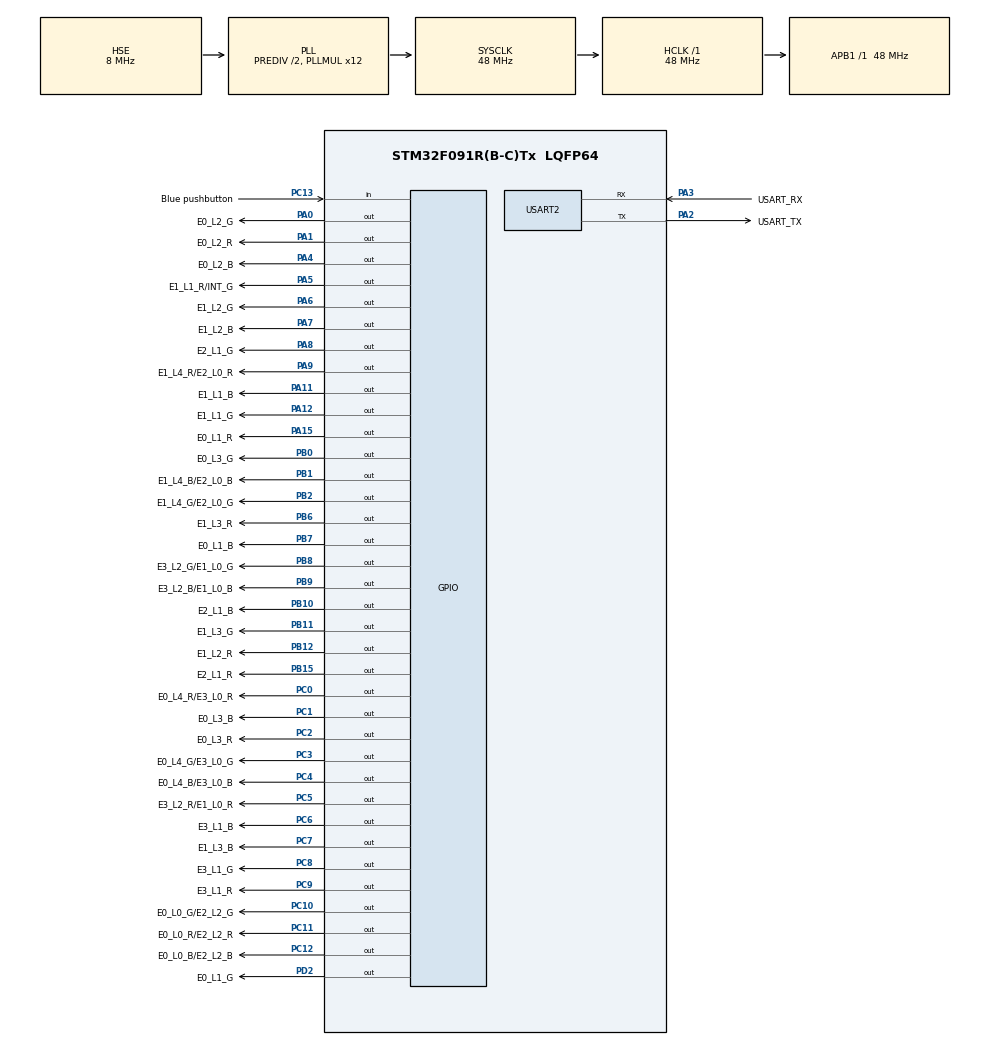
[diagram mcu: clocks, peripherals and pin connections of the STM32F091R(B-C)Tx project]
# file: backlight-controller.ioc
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Dma.Request0=USART2_RX
Dma.Request1=USART2_TX
Dma.USART2_RX.0.DMA1_Remap_Macro_Arg=HAL_DMA1_CH1_USART2_RX
Dma.USART2_RX.0.Direction=DMA_PERIPH_TO_MEMORY
Dma.USART2_RX.0.Instance=DMA1_Channel1
Dma.USART2_RX.0.MemDataAlignment=DMA_MDATAALIGN_BYTE
Dma.USART2_RX.0.MemInc=DMA_MINC_ENABLE
Dma.USART2_RX.0.Mode=DMA_CIRCULAR
Dma.USART2_RX.0.PeriphDataAlignment=DMA_PDATAALIGN_BYTE
Dma.USART2_RX.0.PeriphInc=DMA_PINC_DISABLE
Dma.USART2_RX.0.Priority=DMA_PRIORITY_LOW
Dma.USART2_RX.0.Request=DMA_REQUEST_9
Dma.USART2_TX.1.DMA1_Remap_Macro_Arg=HAL_DMA1_CH2_USART2_TX
Dma.USART2_TX.1.Direction=DMA_MEMORY_TO_PERIPH
Dma.USART2_TX.1.Instance=DMA1_Channel2
Dma.USART2_TX.1.MemDataAlignment=DMA_MDATAALIGN_BYTE
Dma.USART2_TX.1.MemInc=DMA_MINC_ENABLE
Dma.USART2_TX.1.Mode=DMA_NORMAL
Dma.USART2_TX.1.PeriphDataAlignment=DMA_PDATAALIGN_BYTE
Dma.USART2_TX.1.PeriphInc=DMA_PINC_DISABLE
Dma.USART2_TX.1.Priority=DMA_PRIORITY_LOW
Dma.USART2_TX.1.Request=DMA_REQUEST_9
Mcu.Family=STM32F0
Mcu.Name=STM32F091R(B-C)Tx
Mcu.Package=LQFP64
NVIC.DMA1_Ch1_IRQn=true\:3\:0\:true
NVIC.DMA1_Ch2_3_DMA2_Ch1_2_IRQn=true\:3\:0\:true
NVIC.FLASH_IRQn=true\:3\:0\:true
NVIC.PVD_VDDIO2_IRQn=true\:3\:0\:true
NVIC.USART2_IRQn=true\:3\:0\:true
PA0.GPIO_Label=E0_L2_G
PA0.Signal=GPIO_Output
PA1.GPIO_Label=E0_L2_R
PA1.Signal=GPIO_Output
PA11.GPIO_Label=E1_L1_B
PA11.Signal=GPIO_Output
PA12.GPIO_Label=E1_L1_G
PA12.Signal=GPIO_Output
PA13.Mode=Serial-WireDebug
PA13.Signal=SYS_SWDIO
PA14.GPIO_Label=TCK
PA14.Mode=Serial-WireDebug
PA14.Signal=SYS_SWCLK
PA15.GPIO_Label=E0_L1_R
PA15.Signal=GPIO_Output
PA2.GPIO_Label=USART_TX
PA2.GPIO_Mode=GPIO_MODE_AF_PP
PA2.GPIO_PuPd=GPIO_NOPULL
PA2.GPIO_Speed=GPIO_SPEED_LOW
PA2.Mode=Asynchronous
PA2.Signal=USART2_TX
PA3.GPIO_Label=USART_RX
PA3.GPIO_Mode=GPIO_MODE_AF_PP
PA3.GPIO_PuPd=GPIO_NOPULL
PA3.GPIO_Speed=GPIO_SPEED_LOW
PA3.Mode=Asynchronous
PA3.Signal=USART2_RX
PA4.GPIO_Label=E0_L2_B
PA4.Signal=GPIO_Output
PA5.GPIO_Label=E1_L1_R/INT_G
PA5.GPIO_Mode=GPIO_MODE_OUTPUT_PP
PA5.GPIO_PuPd=GPIO_NOPULL
PA5.GPIO_Speed=GPIO_SPEED_LOW
PA5.Signal=GPIO_Output
PA6.GPIO_Label=E1_L2_G
PA6.Signal=GPIO_Output
PA7.GPIO_Label=E1_L2_B
PA7.Signal=GPIO_Output
PA8.GPIO_Label=E2_L1_G
PA8.Signal=GPIO_Output
PA9.GPIO_Label=E1_L4_R/E2_L0_R
PA9.Signal=GPIO_Output
PB0.GPIO_Label=E0_L3_G
PB0.Signal=GPIO_Output
PB1.GPIO_Label=E1_L4_B/E2_L0_B
PB1.Signal=GPIO_Output
PB10.GPIO_Label=E2_L1_B
PB10.Signal=GPIO_Output
PB11.GPIO_Label=E1_L3_G
PB11.Signal=GPIO_Output
PB12.GPIO_Label=E1_L2_R
PB12.Signal=GPIO_Output
PB15.GPIO_Label=E2_L1_R
PB15.Signal=GPIO_Output
PB2.GPIO_Label=E1_L4_G/E2_L0_G
PB2.Signal=GPIO_Output
PB6.GPIO_Label=E1_L3_R
PB6.Signal=GPIO_Output
PB7.GPIO_Label=E0_L1_B
PB7.Signal=GPIO_Output
PB8.GPIO_Label=E3_L2_G/E1_L0_G
PB8.Signal=GPIO_Output
PB9.GPIO_Label=E3_L2_B/E1_L0_B
PB9.Signal=GPIO_Output
PC0.GPIO_Label=E0_L4_R/E3_L0_R
PC0.Signal=GPIO_Output
PC1.GPIO_Label=E0_L3_B
PC1.Signal=GPIO_Output
PC10.GPIO_Label=E0_L0_G/E2_L2_G
PC10.Signal=GPIO_Output
PC11.GPIO_Label=E0_L0_R/E2_L2_R
PC11.Signal=GPIO_Output
PC12.GPIO_Label=E0_L0_B/E2_L2_B
PC12.Signal=GPIO_Output
PC13.GPIO_Label=Blue pushbutton
PC13.Signal=GPIO_Input
PC14OSC32_IN.Signal=RCC_OSC32_IN
PC15OSC32_OUT.Signal=RCC_OSC32_OUT
PC2.GPIO_Label=E0_L3_R
PC2.Signal=GPIO_Output
PC3.GPIO_Label=E0_L4_G/E3_L0_G
PC3.Signal=GPIO_Output
PC4.GPIO_Label=E0_L4_B/E3_L0_B
PC4.Signal=GPIO_Output
PC5.GPIO_Label=E3_L2_R/E1_L0_R
PC5.Signal=GPIO_Output
PC6.GPIO_Label=E3_L1_B
PC6.Signal=GPIO_Output
PC7.GPIO_Label=E1_L3_B
PC7.Signal=GPIO_Output
PC8.GPIO_Label=E3_L1_G
PC8.Signal=GPIO_Output
PC9.GPIO_Label=E3_L1_R
PC9.Signal=GPIO_Output
PD2.GPIO_Label=E0_L1_G
PD2.Signal=GPIO_Output
PF0-OSC_IN.Mode=HSE-External-Oscillator
PF0-OSC_IN.Signal=RCC_OSC_IN
PF1-OSC_OUT.Mode=HSE-External-Oscillator
PF1-OSC_OUT.Signal=RCC_OSC_OUT
ProjectManager.HeapSize=0x400
ProjectManager.StackSize=0x200
ProjectManager.TargetToolchain=SW4STM32
RCC.AHBFreq_Value=48000000
RCC.APB1Freq_Value=48000000
RCC.APB1TimFreq_Value=48000000
RCC.FLatency-AdvancedSettings=FLASH_LATENCY_1
RCC.HCLKFreq_Value=48000000
RCC.PLLDivider=RCC_PREDIV_DIV2
RCC.PLLMUL=RCC_PLL_MUL12
RCC.PLLSource=RCC_PLLSOURCE_HSE
RCC.PREFETCH_ENABLE-AdvancedSettings=1
RCC.SYSCLKFreq_VALUE=48000000
RCC.SYSCLKSource=RCC_SYSCLKSOURCE_PLLCLK
USART2.AutoBaudRateEnableParam=UART_ADVFEATURE_AUTOBAUDRATE_DISABLE
USART2.OverrunDisableParam=UART_ADVFEATURE_OVERRUN_DISABLE
USART2.WordLength=UART_WORDLENGTH_8B
board=NUCLEO-F091RC

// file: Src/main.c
/**
  ******************************************************************************
  * File Name          : main.c
  * Description        : Main program body
  ******************************************************************************
  *
  * COPYRIGHT(c) 2016 STMicroelectronics
  *
  * Redistribution and use in source and binary forms, with or without modification,
  * are permitted provided that the following conditions are met:
  *   1. Redistributions of source code must retain the above copyright notice,
  *      this list of conditions and the following disclaimer.
  *   2. Redistributions in binary form must reproduce the above copyright notice,
  *      this list of conditions and the following disclaimer in the documentation
  *      and/or other materials provided with the distribution.
  *   3. Neither the name of STMicroelectronics nor the names of its contributors
  *      may be used to endorse or promote products derived from this software
  *      without specific prior written permission.
  *
  * THIS SOFTWARE IS PROVIDED BY THE COPYRIGHT HOLDERS AND CONTRIBUTORS "AS IS"
  * AND ANY EXPRESS OR IMPLIED WARRANTIES, INCLUDING, BUT NOT LIMITED TO, THE
  * IMPLIED WARRANTIES OF MERCHANTABILITY AND FITNESS FOR A PARTICULAR PURPOSE ARE
  * DISCLAIMED. IN NO EVENT SHALL THE COPYRIGHT HOLDER OR CONTRIBUTORS BE LIABLE
  * FOR ANY DIRECT, INDIRECT, INCIDENTAL, SPECIAL, EXEMPLARY, OR CONSEQUENTIAL
  * DAMAGES (INCLUDING, BUT NOT LIMITED TO, PROCUREMENT OF SUBSTITUTE GOODS OR
  * SERVICES; LOSS OF USE, DATA, OR PROFITS; OR BUSINESS INTERRUPTION) HOWEVER
  * CAUSED AND ON ANY THEORY OF LIABILITY, WHETHER IN CONTRACT, STRICT LIABILITY,
  * OR TORT (INCLUDING NEGLIGENCE OR OTHERWISE) ARISING IN ANY WAY OUT OF THE USE
  * OF THIS SOFTWARE, EVEN IF ADVISED OF THE POSSIBILITY OF SUCH DAMAGE.
  *
  ******************************************************************************
  */
#include "stm32f0xx_hal.h"

/* USER CODE BEGIN Includes */

#include <string.h>

/* USER CODE END Includes */

UART_HandleTypeDef huart2;
DMA_HandleTypeDef hdma_usart2_rx;
DMA_HandleTypeDef hdma_usart2_tx;

/* USER CODE BEGIN PV */
/* Private variables ---------------------------------------------------------*/

#define LEDS 12
#define TILES_X_COUNT 5
#define TILES_Y_COUNT 3

#define UART_BUF_SIZE 4096

GPIO_TypeDef *ledGPIO[] = {
				E0_L0_R_E2_L2_R_GPIO_Port,	E0_L0_G_E2_L2_G_GPIO_Port,	E0_L0_B_E2_L2_B_GPIO_Port,
				E0_L1_R_GPIO_Port,		E0_L1_G_GPIO_Port,		E0_L1_B_GPIO_Port,
				E0_L2_R_GPIO_Port,		E0_L2_G_GPIO_Port,		E0_L2_B_GPIO_Port,
				E0_L3_R_GPIO_Port,		E0_L3_G_GPIO_Port,		E0_L3_B_GPIO_Port,
				E0_L4_R_E3_L0_R_GPIO_Port,	E0_L4_G_E3_L0_G_GPIO_Port,	E0_L4_B_E3_L0_B_GPIO_Port,
				E3_L1_R_GPIO_Port,		E3_L1_G_GPIO_Port,		E3_L1_B_GPIO_Port,
				E3_L2_R_E1_L0_R_GPIO_Port,	E3_L2_G_E1_L0_G_GPIO_Port,	E3_L2_B_E1_L0_B_GPIO_Port,
				E1_L1_R_INT_G_GPIO_Port,	E1_L1_G_GPIO_Port,		E1_L1_B_GPIO_Port,
				E1_L2_R_GPIO_Port,		E1_L2_G_GPIO_Port,		E1_L2_B_GPIO_Port,
				E1_L3_R_GPIO_Port,		E1_L3_G_GPIO_Port,		E1_L3_B_GPIO_Port,
				E1_L4_R_E2_L0_R_GPIO_Port,	E1_L4_G_E2_L0_G_GPIO_Port,	E1_L4_B_E2_L0_B_GPIO_Port,
				E2_L1_R_GPIO_Port,		E2_L1_G_GPIO_Port,		E2_L1_B_GPIO_Port,
			};
uint16_t      ledPIN[]  = {
				E0_L0_R_E2_L2_R_Pin,		E0_L0_G_E2_L2_G_Pin,		E0_L0_B_E2_L2_B_Pin,
				E0_L1_R_Pin,			E0_L1_G_Pin,			E0_L1_B_Pin,
				E0_L2_R_Pin,			E0_L2_G_Pin,			E0_L2_B_Pin,
				E0_L3_R_Pin,			E0_L3_G_Pin,			E0_L3_B_Pin,
				E0_L4_R_E3_L0_R_Pin,		E0_L4_G_E3_L0_G_Pin,		E0_L4_B_E3_L0_B_Pin,
				E3_L1_R_Pin,			E3_L1_G_Pin,			E3_L1_B_Pin,
				E3_L2_R_E1_L0_R_Pin,		E3_L2_G_E1_L0_G_Pin,		E3_L2_B_E1_L0_B_Pin,
				E1_L1_R_INT_G_Pin,		E1_L1_G_Pin,			E1_L1_B_Pin,
				E1_L2_R_Pin,			E1_L2_G_Pin,			E1_L2_B_Pin,
				E1_L3_R_Pin,			E1_L3_G_Pin,			E1_L3_B_Pin,
				E1_L4_R_E2_L0_R_Pin,		E1_L4_G_E2_L0_G_Pin,		E1_L4_B_E2_L0_B_Pin,
				E2_L1_R_Pin,			E2_L1_G_Pin,			E2_L1_B_Pin,
			};
uint8_t       led[LEDS*3] = {0};
uint8_t       ledSTATUS[LEDS*3] = {0};

struct __attribute__((__packed__)) in {
	uint8_t preamble;
	uint8_t edge_id;
	uint8_t led_id;
	uint8_t r;
	uint8_t g;
	uint8_t b;
};

uint8_t uart_buf[UART_BUF_SIZE];

/* USER CODE END PV */

void SystemClock_Config(void);
static void MX_GPIO_Init(void);
static void MX_DMA_Init(void);
static void MX_USART2_UART_Init(void);

/* USER CODE BEGIN PFP */
/* Private function prototypes -----------------------------------------------*/
#define sendstr(str) HAL_UART_Transmit_DMA(&huart2, (uint8_t *)str"\r\n", sizeof(str"\r\n")-1);

/* USER CODE END PFP */

/* USER CODE BEGIN 0 */

void error() {
	while (1) {
		GPIOA->BSRR = GPIO_PIN_5;
		HAL_Delay(500);
		GPIOA->BSRR = GPIO_PIN_5 << 16;
		HAL_Delay(500);
	}
}

void tick_leds() {

	int ledid = 0;
	uint8_t tickid = HAL_GetTick();
	while (ledid < LEDS*3) {
		uint8_t newstatus;
		newstatus = (led[ledid] <= tickid);
		if (newstatus != ledSTATUS[ledid]) {
			switch (newstatus) {
				case 0:
					ledGPIO[ledid]->BSRR = ledPIN[ledid] << 16;
					break;
				case 1:
					ledGPIO[ledid]->BSRR = ledPIN[ledid];
					break;
			}
			ledSTATUS[ledid] = newstatus;
		}
		ledid++;
	}

	HAL_IncTick();
	return;
}

void uart_read(uint8_t *buf, uint16_t size) {
	static uint8_t *parsed       =  uart_buf;
	static uint8_t *uart_buf_end = &uart_buf[UART_BUF_SIZE];

	while (size) {
		while (parsed == &uart_buf[UART_BUF_SIZE - huart2.hdmarx->Instance->CNDTR])
			tick_leds();
		*(buf++) = *(parsed++);

		if (parsed >= uart_buf_end)
			parsed = uart_buf;

		size--;
	}

	return;
}

/* USER CODE END 0 */

int main(void)
{

  /* MCU Configuration----------------------------------------------------------*/

  /* Reset of all peripherals, Initializes the Flash interface and the Systick. */
  HAL_Init();

  /* Configure the system clock */
  SystemClock_Config();

  /* Initialize all configured peripherals */
  MX_GPIO_Init();
  MX_DMA_Init();
  MX_USART2_UART_Init();

  /* USER CODE BEGIN 2 */
  sendstr("Initializing");

  /* USER CODE END 2 */

  /* Infinite loop */
  /* USER CODE BEGIN WHILE */
  if (HAL_UART_Receive_DMA(&huart2, uart_buf, UART_BUF_SIZE) != HAL_OK)
    error();
  while (1)
  {
    struct in s;

    //sendstr("[P]Waiting for a preamble");
    while (1) { // Waiting for a preamble
      uart_read((uint8_t *)&s, 1);
      //sendstr("[p]Got a byte");
      if (!s.preamble) break; // Got the preamble
    }

    //sendstr("[C]Waiting for a command");
    // Infinite wait for a frame
    uart_read(((uint8_t *)&s)+1, sizeof(s)-1);
    // Correcting values (parsing)
    //sendstr("[c]Received the command");
    s.edge_id--;
    s.led_id--;
    if (s.r != 255) s.r--;
    if (s.g != 255) s.g--;
    if (s.b != 255) s.b--;
    uint8_t ledid = 0;
    switch(s.edge_id) {
      case 0: // top
        ledid = s.led_id;
        break;
      case 3: // right
        ledid = (TILES_X_COUNT-1) + s.led_id;
        break;
      case 1: // bottom
        ledid = (TILES_X_COUNT-1) + TILES_Y_COUNT + s.led_id;
        break;
      case 2: // left
        ledid = (TILES_X_COUNT-1) + TILES_Y_COUNT + TILES_X_COUNT + s.led_id;
        break;
    }

    // Considering received information
    led[ledid*3 +0] = s.r;
    led[ledid*3 +1] = s.g;
    led[ledid*3 +2] = s.b;

/*
    {
      char buf[1024];
      snprintf(buf, 1024, "%i %i %i %i %i %i\n", ledid, s.edge_id, s.led_id, s.r, s.g, s.b);
      HAL_UART_Transmit_DMA(&huart2, (uint8_t *)buf, strlen(buf));
    }*/
    //tick_leds();

  /* USER CODE END WHILE */

  }

}

/** System Clock Configuration
*/
void SystemClock_Config(void)
{

  RCC_OscInitTypeDef RCC_OscInitStruct;
  RCC_ClkInitTypeDef RCC_ClkInitStruct;
  RCC_PeriphCLKInitTypeDef PeriphClkInit;

  RCC_OscInitStruct.OscillatorType = RCC_OSCILLATORTYPE_HSE;
  RCC_OscInitStruct.HSEState = RCC_HSE_ON;
  RCC_OscInitStruct.PLL.PLLState = RCC_PLL_ON;
  RCC_OscInitStruct.PLL.PLLSource = RCC_PLLSOURCE_HSE;
  RCC_OscInitStruct.PLL.PLLMUL = RCC_PLL_MUL12;
  RCC_OscInitStruct.PLL.PREDIV = RCC_PREDIV_DIV2;
  HAL_RCC_OscConfig(&RCC_OscInitStruct);

  RCC_ClkInitStruct.ClockType = RCC_CLOCKTYPE_HCLK|RCC_CLOCKTYPE_SYSCLK
                              |RCC_CLOCKTYPE_PCLK1;
  RCC_ClkInitStruct.SYSCLKSource = RCC_SYSCLKSOURCE_PLLCLK;
  RCC_ClkInitStruct.AHBCLKDivider = RCC_SYSCLK_DIV1;
  RCC_ClkInitStruct.APB1CLKDivider = RCC_HCLK_DIV1;
  HAL_RCC_ClockConfig(&RCC_ClkInitStruct, FLASH_LATENCY_1);

  PeriphClkInit.PeriphClockSelection = RCC_PERIPHCLK_USART2;
  PeriphClkInit.Usart2ClockSelection = RCC_USART2CLKSOURCE_PCLK1;
  HAL_RCCEx_PeriphCLKConfig(&PeriphClkInit);

  HAL_SYSTICK_Config(HAL_RCC_GetHCLKFreq()/1000);

  HAL_SYSTICK_CLKSourceConfig(SYSTICK_CLKSOURCE_HCLK);

  /* SysTick_IRQn interrupt configuration */
  HAL_NVIC_SetPriority(SysTick_IRQn, 0, 0);
}

/* USART2 init function */
void MX_USART2_UART_Init(void)
{

  huart2.Instance = USART2;
  huart2.Init.BaudRate = 115200;
  huart2.Init.WordLength = UART_WORDLENGTH_8B;
  huart2.Init.StopBits = UART_STOPBITS_1;
  huart2.Init.Parity = UART_PARITY_NONE;
  huart2.Init.Mode = UART_MODE_TX_RX;
  huart2.Init.HwFlowCtl = UART_HWCONTROL_NONE;
  huart2.Init.OverSampling = UART_OVERSAMPLING_16;
  huart2.Init.OneBitSampling = UART_ONEBIT_SAMPLING_DISABLED;
  huart2.AdvancedInit.AdvFeatureInit = UART_ADVFEATURE_RXOVERRUNDISABLE_INIT;
  huart2.AdvancedInit.OverrunDisable = UART_ADVFEATURE_OVERRUN_DISABLE;
  HAL_UART_Init(&huart2);

}

void MX_DMA_Init(void)
{
  /* DMA controller clock enable */
  __DMA1_CLK_ENABLE();

  /* DMA interrupt init */
  HAL_NVIC_SetPriority(DMA1_Ch1_IRQn, 3, 0);
  HAL_NVIC_EnableIRQ(DMA1_Ch1_IRQn);
  HAL_NVIC_SetPriority(DMA1_Ch2_3_DMA2_Ch1_2_IRQn, 3, 0);
  HAL_NVIC_EnableIRQ(DMA1_Ch2_3_DMA2_Ch1_2_IRQn);

}

/** Configure pins as
        * Analog
        * Input
        * Output
        * EVENT_OUT
        * EXTI
*/
void MX_GPIO_Init(void)
{

  GPIO_InitTypeDef GPIO_InitStruct;

  /* GPIO Ports Clock Enable */
  __GPIOC_CLK_ENABLE();
  __GPIOF_CLK_ENABLE();
  __GPIOA_CLK_ENABLE();
  __GPIOB_CLK_ENABLE();
  __GPIOD_CLK_ENABLE();

  /*Configure GPIO pin : Blue_pushbutton_Pin */
  GPIO_InitStruct.Pin = Blue_pushbutton_Pin;
  GPIO_InitStruct.Mode = GPIO_MODE_INPUT;
  GPIO_InitStruct.Pull = GPIO_NOPULL;
  HAL_GPIO_Init(Blue_pushbutton_GPIO_Port, &GPIO_InitStruct);

  /*Configure GPIO pins : E0_L4_R_E3_L0_R_Pin E0_L3_B_Pin E0_L3_R_Pin E0_L4_G_E3_L0_G_Pin
                           E0_L4_B_E3_L0_B_Pin E3_L2_R_E1_L0_R_Pin E3_L1_B_Pin E1_L3_B_Pin
                           E3_L1_G_Pin E3_L1_R_Pin E0_L0_G_E2_L2_G_Pin E0_L0_R_E2_L2_R_Pin
                           E0_L0_B_E2_L2_B_Pin */
  GPIO_InitStruct.Pin = E0_L4_R_E3_L0_R_Pin|E0_L3_B_Pin|E0_L3_R_Pin|E0_L4_G_E3_L0_G_Pin
                          |E0_L4_B_E3_L0_B_Pin|E3_L2_R_E1_L0_R_Pin|E3_L1_B_Pin|E1_L3_B_Pin
                          |E3_L1_G_Pin|E3_L1_R_Pin|E0_L0_G_E2_L2_G_Pin|E0_L0_R_E2_L2_R_Pin
                          |E0_L0_B_E2_L2_B_Pin;
  GPIO_InitStruct.Mode = GPIO_MODE_OUTPUT_PP;
  GPIO_InitStruct.Pull = GPIO_NOPULL;
  GPIO_InitStruct.Speed = GPIO_SPEED_LOW;
  HAL_GPIO_Init(GPIOC, &GPIO_InitStruct);

  /*Configure GPIO pins : E0_L2_G_Pin E0_L2_R_Pin E0_L2_B_Pin E1_L1_R_INT_G_Pin
                           E1_L2_G_Pin E1_L2_B_Pin E2_L1_G_Pin E1_L4_R_E2_L0_R_Pin
                           E1_L1_B_Pin E1_L1_G_Pin E0_L1_R_Pin */
  GPIO_InitStruct.Pin = E0_L2_G_Pin|E0_L2_R_Pin|E0_L2_B_Pin|E1_L1_R_INT_G_Pin
                          |E1_L2_G_Pin|E1_L2_B_Pin|E2_L1_G_Pin|E1_L4_R_E2_L0_R_Pin
                          |E1_L1_B_Pin|E1_L1_G_Pin|E0_L1_R_Pin;
  GPIO_InitStruct.Mode = GPIO_MODE_OUTPUT_PP;
  GPIO_InitStruct.Pull = GPIO_NOPULL;
  GPIO_InitStruct.Speed = GPIO_SPEED_LOW;
  HAL_GPIO_Init(GPIOA, &GPIO_InitStruct);

  /*Configure GPIO pins : E0_L3_G_Pin E1_L4_B_E2_L0_B_Pin E1_L4_G_E2_L0_G_Pin E2_L1_B_Pin
                           E1_L3_G_Pin E1_L2_R_Pin E2_L1_R_Pin E1_L3_R_Pin
                           E0_L1_B_Pin E3_L2_G_E1_L0_G_Pin E3_L2_B_E1_L0_B_Pin */
  GPIO_InitStruct.Pin = E0_L3_G_Pin|E1_L4_B_E2_L0_B_Pin|E1_L4_G_E2_L0_G_Pin|E2_L1_B_Pin
                          |E1_L3_G_Pin|E1_L2_R_Pin|E2_L1_R_Pin|E1_L3_R_Pin
                          |E0_L1_B_Pin|E3_L2_G_E1_L0_G_Pin|E3_L2_B_E1_L0_B_Pin;
  GPIO_InitStruct.Mode = GPIO_MODE_OUTPUT_PP;
  GPIO_InitStruct.Pull = GPIO_NOPULL;
  GPIO_InitStruct.Speed = GPIO_SPEED_LOW;
  HAL_GPIO_Init(GPIOB, &GPIO_InitStruct);

  /*Configure GPIO pin : E0_L1_G_Pin */
  GPIO_InitStruct.Pin = E0_L1_G_Pin;
  GPIO_InitStruct.Mode = GPIO_MODE_OUTPUT_PP;
  GPIO_InitStruct.Pull = GPIO_NOPULL;
  GPIO_InitStruct.Speed = GPIO_SPEED_LOW;
  HAL_GPIO_Init(E0_L1_G_GPIO_Port, &GPIO_InitStruct);

  /*Configure GPIO pin Output Level */
  HAL_GPIO_WritePin(GPIOC, E0_L4_R_E3_L0_R_Pin|E0_L3_B_Pin|E0_L3_R_Pin|E0_L4_G_E3_L0_G_Pin
                          |E0_L4_B_E3_L0_B_Pin|E3_L2_R_E1_L0_R_Pin|E3_L1_B_Pin|E1_L3_B_Pin
                          |E3_L1_G_Pin|E3_L1_R_Pin|E0_L0_G_E2_L2_G_Pin|E0_L0_R_E2_L2_R_Pin
                          |E0_L0_B_E2_L2_B_Pin, GPIO_PIN_RESET);

  /*Configure GPIO pin Output Level */
  HAL_GPIO_WritePin(GPIOA, E0_L2_G_Pin|E0_L2_R_Pin|E0_L2_B_Pin|E1_L1_R_INT_G_Pin
                          |E1_L2_G_Pin|E1_L2_B_Pin|E2_L1_G_Pin|E1_L4_R_E2_L0_R_Pin
                          |E1_L1_B_Pin|E1_L1_G_Pin|E0_L1_R_Pin, GPIO_PIN_RESET);

  /*Configure GPIO pin Output Level */
  HAL_GPIO_WritePin(GPIOB, E0_L3_G_Pin|E1_L4_B_E2_L0_B_Pin|E1_L4_G_E2_L0_G_Pin|E2_L1_B_Pin
                          |E1_L3_G_Pin|E1_L2_R_Pin|E2_L1_R_Pin|E1_L3_R_Pin
                          |E0_L1_B_Pin|E3_L2_G_E1_L0_G_Pin|E3_L2_B_E1_L0_B_Pin, GPIO_PIN_RESET);

  /*Configure GPIO pin Output Level */
  HAL_GPIO_WritePin(E0_L1_G_GPIO_Port, E0_L1_G_Pin, GPIO_PIN_RESET);

}

/************************ (C) COPYRIGHT STMicroelectronics *****END OF FILE****/
